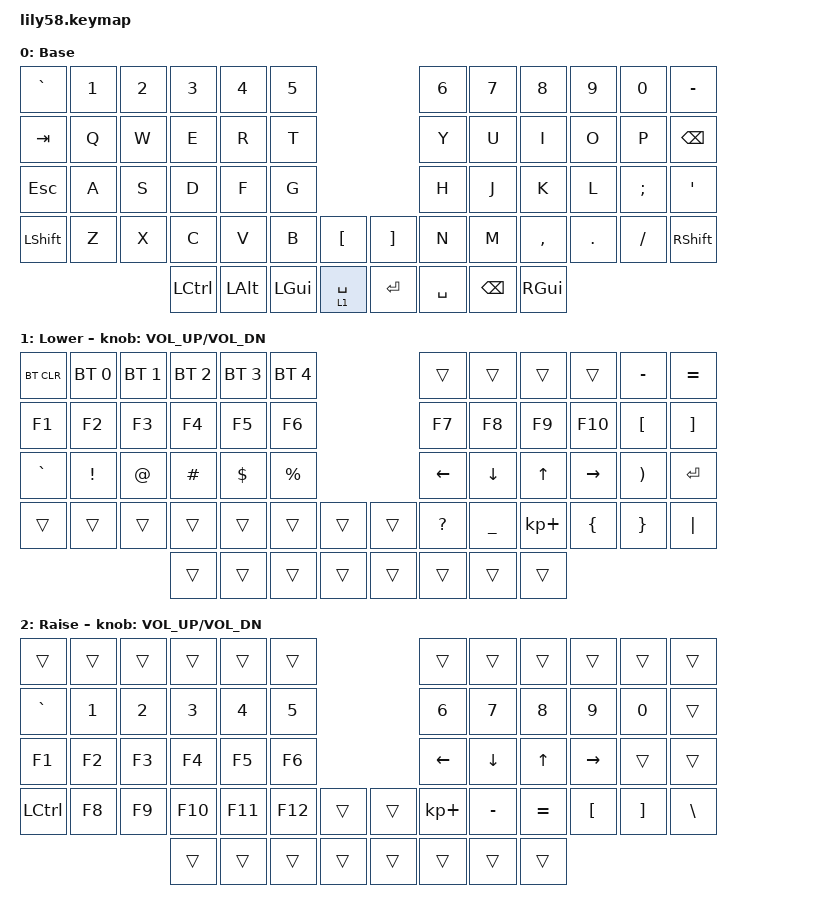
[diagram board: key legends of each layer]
/*
 * Copyright (c) 2020 The ZMK Contributors
 *
 * SPDX-License-Identifier: MIT
 */

#include <behaviors.dtsi>
#include <dt-bindings/zmk/bt.h>
#include <dt-bindings/zmk/keys.h>

/ {
    chosen {
        zmk,kscan = &kscan0;
        zephyr,display = &oled;
    };

    // Add custom widget configuration

    widgets {
        compatible = "zmk,widgets";

        status_screen: status_screen {
            compatible = "zmk,status-screen";
            label = "STATUS_SCREEN";
            position = <0>;
            height = <32>;
            width = <128>;
        };
    };

    keymap {
        compatible = "zmk,keymap";

        default_layer {
            /* QWERTY
 * ,------------------------------------,                    ,------------------------------------.
 * |  TAB |  1  |  2  |  3  |  4  |  5  |                    |  6  |  7  |  8  |  9  |  0  |  `   |
 * |------+-----+-----+-----+-----+-----|                    |-----+-----+-----+-----+-----+------|
 * |  ESC |  Q  |  W  |  E  |  R  |  T  |                    |  Y  |  U  |  I  |  O  |  P  |  -   |
 * |------+-----+-----+-----+-----+-----|                    |-----+-----+-----+-----+-----+------|
 * | CTRL |  A  |  S  |  D  |  F  |  G  |-------.    ,-------|  H  |  J  |  K  |  L  |  ;  |  '   |
 * |------+-----+-----+-----+-----+-----|   [   |    |   ]   |-----+-----+-----+-----+-----+------|
 * |Shift |  Z  |  X  |  C  |  V  |  B  |-------|    |-------|  N  |  M  |  ,  |  .  |  /  |Shift |
 * `------------------------------------/       /     \      \------------------------------------'
 *              | Alt  | GUI  |Lower | /Space  /       \Enter \  |Raise |BSPC | GUI  |
 *              `---------------------------'           '------''--------------------'
 */

            display-name = "Base";
            bindings = <
&kp GRAVE       &kp N1  &kp N2  &kp N3            &kp N4        &kp N5                                 &kp N6     &kp N7    &kp N8     &kp N9   &kp N0    &kp MINUS
&kp TAB         &kp Q   &kp W   &kp E             &kp R         &kp T                                  &kp Y      &kp U     &kp I      &kp O    &kp P     &kp BACKSPACE
&kp ESCAPE      &kp A   &kp S   &kp D             &kp F         &kp G                                  &kp H      &kp J     &kp K      &kp L    &kp SEMI  &kp SQT
&kp LEFT_SHIFT  &kp Z   &kp X   &kp C             &kp V         &kp B         &kp LBKT       &kp RBKT  &kp N      &kp M     &kp COMMA  &kp DOT  &kp FSLH  &kp RSHFT
                                &kp LEFT_CONTROL  &kp LEFT_ALT  &kp LEFT_GUI  &lt 1 SPACE    &kp RET   &kp SPACE  &kp BSPC  &kp RGUI
            >;
        };

        lower_layer {
            /* LOWER
 * ,-----------------------------------.                    ,-----------------------------------------.
 * |BTCLR| BT1 | BT2 | BT3 | BT4 | BT5 |                    |      |      |      |      |      |      |
 * |-----+-----+-----+-----+-----+-----|                    |------+------+------+------+------+------|
 * | F1  | F2  | F3  | F4  | F5  | F6  |                    | F7   | F8   | F9   | F10  | F11  | F12  |
 * |-----+-----+-----+-----+-----+-----|                    |------+------+------+------+------+------|
 * |  `  |  !  |  @  |  #  |  $  |  %  |-------.    ,-------|  ^   |  &   |  *   |  (   |  )   |  ~   |
 * |-----+-----+-----+-----+-----+-----|       |    |       |------+------+------+------+------+------|
 * |     |     |     |     |     |     |-------|    |-------|  ?   |  _   |  +   |  {   |  }   |  "|" |
 * `-----------------------------------/       /     \      \-----------------------------------------'
 *             |      |      |      | /       /       \      \ |      |      |      |
 *             `-----------------------------'         '------''--------------------'
 */

            display-name = "Lower";
            bindings = <
&bt BT_CLR  &bt BT_SEL 0  &bt BT_SEL 1  &bt BT_SEL 2  &bt BT_SEL 3  &bt BT_SEL 4                    &trans          &trans          &trans        &trans           &kp MINUS         &kp EQUAL
&kp F1      &kp F2        &kp F3        &kp F4        &kp F5        &kp F6                          &kp F7          &kp F8          &kp F9        &kp F10          &kp LEFT_BRACKET  &kp RIGHT_BRACKET
&kp GRAVE   &kp EXCL      &kp AT        &kp HASH      &kp DOLLAR    &kp PRCNT                       &kp LEFT_ARROW  &kp DOWN_ARROW  &kp UP_ARROW  &kp RIGHT_ARROW  &kp RPAR          &kp RET
&trans      &trans        &trans        &trans        &trans        &trans        &trans    &trans  &kp QMARK       &kp UNDER       &kp KP_PLUS   &kp LBRC         &kp RBRC          &kp PIPE
                                        &trans        &trans        &trans        &trans    &trans  &trans          &trans          &trans
            >;

            sensor-bindings = <&inc_dec_kp C_VOL_UP C_VOL_DN>;
        };

        raise_layer {
            /* RAISE
 * ,------------------------------------.                    ,------------------------------------.
 * |      |     |     |     |     |     |                    |     |     |     |     |     |      |
 * |------+-----+-----+-----+-----+-----|                    |-----+-----+-----+-----+-----+------|
 * |  `   |  1  |  2  |  3  |  4  |  5  |                    |  6  |  7  |  8  |  9  |  0  |      |
 * |------+-----+-----+-----+-----+-----|                    |-----+-----+-----+-----+-----+------|
 * | F1   | F2  | F3  | F4  | F5  | F6  |-------.    ,-------| <-  |  v  |  ^  | ->  |     |      |
 * |------+-----+-----+-----+-----+-----|       |    |       |-----+-----+-----+-----+-----+------|
 * | F7   | F8  | F9  | F10 | F11 | F12 |-------|    |-------|  +  |  -  |  =  |  [  |  ]  |  \   |
 * `------------------------------------/       /     \      \------------------------------------'
 *              |      |      |      | /       /       \      \ |      |      |      |
 *               `---------------------------'          '------''--------------------'
 */

            display-name = "Raise";
            bindings = <
&trans     &trans  &trans  &trans   &trans   &trans                     &trans       &trans     &trans     &trans     &trans    &trans
&kp GRAVE  &kp N1  &kp N2  &kp N3   &kp N4   &kp N5                     &kp N6       &kp N7     &kp N8     &kp N9     &kp N0    &trans
&kp F1     &kp F2  &kp F3  &kp F4   &kp F5   &kp F6                     &kp LEFT     &kp DOWN   &kp UP     &kp RIGHT  &trans    &trans
&kp LCTRL  &kp F8  &kp F9  &kp F10  &kp F11  &kp F12  &trans    &trans  &kp KP_PLUS  &kp MINUS  &kp EQUAL  &kp LBKT   &kp RBKT  &kp BSLH
                           &trans   &trans   &trans   &trans    &trans  &trans       &trans     &trans
            >;

            sensor-bindings = <&inc_dec_kp C_VOL_UP C_VOL_DN>;
        };

        extra_1 { status = "reserved"; };

        extra_2 { status = "reserved"; };

        extra_3 { status = "reserved"; };
    };
};
